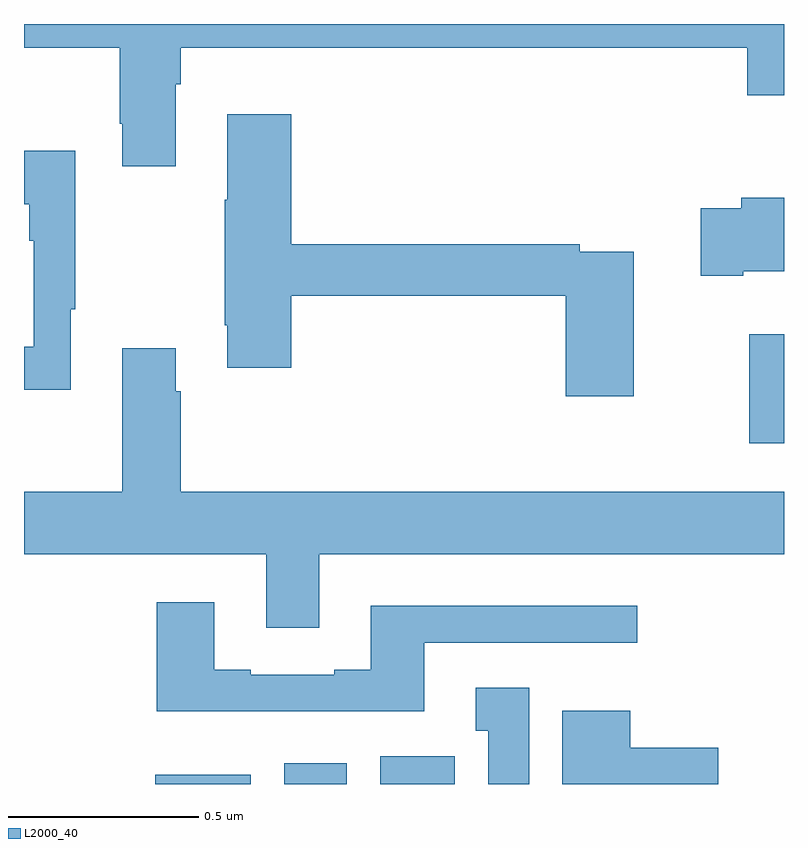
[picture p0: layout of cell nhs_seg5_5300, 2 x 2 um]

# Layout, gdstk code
import gdstk
lib = gdstk.Library(unit=1e-6, precision=1e-09)
def R(c, l, rs):  # rectangles x0, y0, x1, y1
    for r in rs: c.add(gdstk.rectangle(r[:2], r[2:], *l))
def P(c, l, *ps):  # polygons
    for p in ps: c.add(gdstk.Polygon(p, *l))
L2000_40 = (2000, 40)

nhs_seg5_5300 = lib.new_cell('nhs_seg5_5300')
R(nhs_seg5_5300, L2000_40, [(181.346,878.799,181.597,878.824), (181.685,878.799,181.849,878.854), (181.937,878.799,182.134,878.872), (182.908,879.696,183,879.982)])
P(nhs_seg5_5300, L2000_40, [(181.399,880.64),(181.412,880.64),(181.412,880.736),(182.903,880.736),(182.903,880.612),(183,880.612),(183,880.799),(181,880.799),(181,880.736),(181.252,880.736),(181.252,880.537),(181.259,880.537),(181.259,880.425),(181.399,880.425)],
  [(182.604,880.2),(182.462,880.2),(182.462,880.22),(181.703,880.22),(181.703,880.561),(181.535,880.561),(181.535,880.337),(181.528,880.337),(181.528,880.006),(181.535,880.006),(181.535,879.894),(181.703,879.894),(181.703,880.084),(182.426,880.084),(182.426,879.819),(182.604,879.819)],
  [(181.123,880.049),(181.135,880.049),(181.135,880.465),(181,880.465),(181,880.325),(181.014,880.325),(181.014,880.229),(181.026,880.229),(181.026,879.95),(181,879.95),(181,879.837),(181.123,879.837)],
  [(182.893,880.148),(183,880.148),(183,880.342),(182.888,880.342),(182.888,880.314),(182.781,880.314),(182.781,880.136),(182.893,880.136)],
  [(181.777,879.404),(183,879.404),(183,879.568),(181.412,879.568),(181.412,879.833),(181.399,879.833),(181.399,879.946),(181.259,879.946),(181.259,879.568),(181,879.568),(181,879.404),(181.637,879.404),(181.637,879.21),(181.777,879.21)],
  [(182.053,879.171),(182.614,879.171),(182.614,879.268),(181.913,879.268),(181.913,879.1),(181.817,879.1),(181.817,879.087),(181.597,879.087),(181.597,879.1),(181.501,879.1),(181.501,879.277),(181.349,879.277),(181.349,878.99),(182.053,878.99)],
  [(182.329,879.052),(182.189,879.052),(182.189,878.939),(182.222,878.939),(182.222,878.799),(182.329,878.799)],
  [(182.827,878.894),(182.596,878.894),(182.596,878.992),(182.417,878.992),(182.417,878.799),(182.827,878.799)])

lib.write_gds('nhs_seg5_5300.gds')
